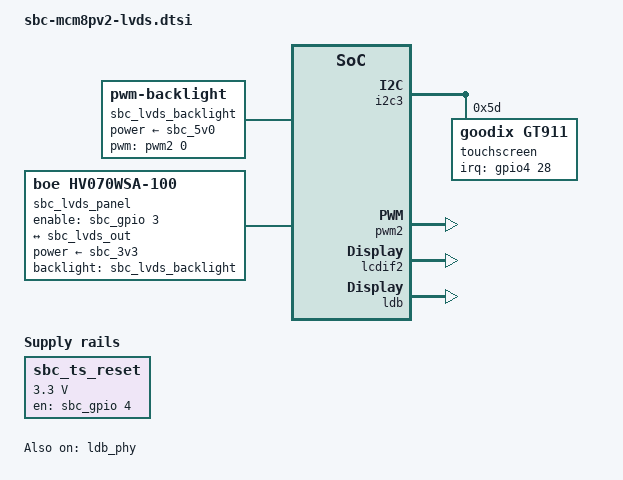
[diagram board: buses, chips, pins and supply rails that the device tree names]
// SPDX-License-Identifier: (GPL-2.0+ OR MIT)
/* Copyright 2026 CompuLab Ltd. */

&{/} {
	sbc_lvds_backlight: backlight-lvds {
		compatible = "pwm-backlight";
		power-supply = <&sbc_5v0>;
		pwms = <&pwm2 0 50000 0>;
		brightness-levels = <0 16 32 64 96 128 160 192 224 255>;
		default-brightness-level = <8>;
	};
	/* Provisional panel; confirm the attached panel before deployment. */
	sbc_lvds_panel: panel-lvds {
		compatible = "boe,hv070wsa-100";
		power-supply = <&sbc_3v3>;
		enable-gpios = <&sbc_gpio 3 GPIO_ACTIVE_HIGH>;
		backlight = <&sbc_lvds_backlight>;

		port {
			sbc_lvds_in: endpoint {
				remote-endpoint = <&sbc_lvds_out>;
			};
		};
	};

	/* Keep touch reset deasserted, as on SBEV-UCMiMX8Plus. */
	sbc_ts_reset: regulator-tsreset {
		compatible = "regulator-fixed";
		regulator-name = "touch-reset";
		regulator-min-microvolt = <3300000>;
		regulator-max-microvolt = <3300000>;
		gpio = <&sbc_gpio 4 GPIO_ACTIVE_HIGH>;
		enable-active-high;
		regulator-always-on;
	};
};

&i2c3 {
	#address-cells = <1>;
	#size-cells = <0>;
	status = "okay";

	touchscreen@5d {
		compatible = "goodix,gt911";
		reg = <0x5d>;
		interrupt-parent = <&gpio4>;
		interrupts = <28 IRQ_TYPE_LEVEL_HIGH>;
		pinctrl-names = "default";
		pinctrl-0 = <&pinctrl_sbc_lvds_touch>;
		irq-gpios = <&gpio4 28 GPIO_ACTIVE_HIGH>;
		/* Reset is released by regulator-tsreset, matching the reference. */
		touchscreen-inverted-x;
		touchscreen-inverted-y;
		status = "okay";
	};
};

&pwm2 {
	pinctrl-names = "default";
	pinctrl-0 = <&pinctrl_sbc_pwm2>;
	status = "okay";
};

&lcdif2 {
	status = "okay";
};

&ldb {
	#address-cells = <1>;
	#size-cells = <0>;
	status = "okay";

	lvds-channel@0 {
		reg = <0>;
		#address-cells = <1>;
		#size-cells = <0>;
		fsl,data-mapping = "spwg";
		fsl,data-width = <24>;
		status = "okay";

		port@1 {
			reg = <1>;
			sbc_lvds_out: endpoint {
				remote-endpoint = <&sbc_lvds_in>;
			};
		};
	};

	lvds-channel@1 {
		reg = <1>;
		status = "disabled";
	};
};

&ldb_phy {
	status = "okay";
};

&iomuxc {
	pinctrl_sbc_lvds_touch: sbc-lvds-touchgrp {
		fsl,pins = <
			MX8MP_IOMUXC_SAI3_RXFS__GPIO4_IO28 0x19
		>;
	};

	pinctrl_sbc_pwm2: sbc-pwm2grp {
		fsl,pins = <
			MX8MP_IOMUXC_SPDIF_RX__PWM2_OUT 0x116
		>;
	};
};
